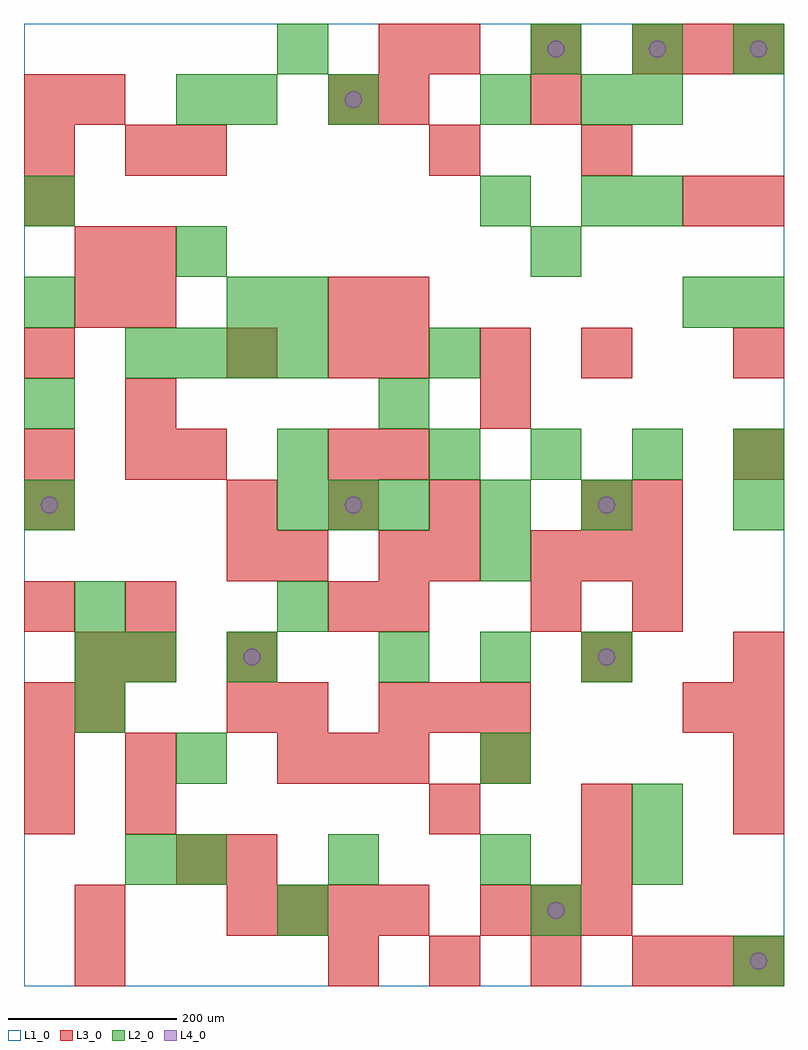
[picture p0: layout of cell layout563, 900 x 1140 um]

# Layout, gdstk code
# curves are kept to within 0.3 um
import gdstk
lib = gdstk.Library(unit=1e-6, precision=1e-09)
def R(c, l, rs):  # rectangles x0, y0, x1, y1
    for r in rs: c.add(gdstk.rectangle(r[:2], r[2:], *l))
def A(c, l, x, y, w, h, nx, ny, dx, dy):  # array of equal rectangles
    R(c, l, [(x+i*dx, y+j*dy, x+i*dx+w, y+j*dy+h) for i in range(nx) for j in range(ny)])
def P(c, l, *ps):  # polygons
    for p in ps: c.add(gdstk.Polygon(p, *l))
L1_0 = (1, 0)
L2_0 = (2, 0)
L3_0 = (3, 0)
L4_0 = (4, 0)

layout563 = lib.new_cell('layout563')
R(layout563, L1_0, [(0,0,900,1140)])
A(layout563, L2_0, 180, 120, 60, 60, 4, 1, 180, 0)
A(layout563, L2_0, 60, 300, 60, 60, 1, 3, 0, 60)
A(layout563, L2_0, 420, 360, 60, 60, 3, 1, 120, 0)
A(layout563, L2_0, 300, 420, 60, 60, 1, 3, 0, 180)
A(layout563, L2_0, 0, 540, 60, 60, 1, 4, 0, 120)
A(layout563, L2_0, 300, 540, 60, 60, 3, 1, 60, 0)
A(layout563, L2_0, 480, 600, 60, 60, 4, 1, 120, 0)
A(layout563, L2_0, 120, 720, 60, 60, 4, 1, 60, 0)
A(layout563, L2_0, 600, 1080, 60, 60, 3, 1, 120, 0)
R(layout563, L2_0, [(840,0,900,60), (300,60,360,120), (600,60,660,120), (120,120,180,180), (720,180,780,240), (180,240,240,300), (540,240,600,300), (120,360,180,420), (240,360,300,420), (540,480,600,540), (540,540,600,600), (660,540,720,600), (840,540,900,600), (420,660,480,720), (480,720,540,780), (240,780,300,840), (780,780,840,840), (840,780,900,840), (180,840,240,900), (600,840,660,900), (540,900,600,960), (660,900,720,960), (720,900,780,960), (180,1020,240,1080), (240,1020,300,1080), (360,1020,420,1080), (540,1020,600,1080), (660,1020,720,1080), (720,1020,780,1080), (300,1080,360,1140)])
A(layout563, L3_0, 360, 0, 60, 60, 4, 1, 120, 0)
A(layout563, L3_0, 240, 60, 60, 60, 4, 1, 60, 0)
A(layout563, L3_0, 540, 60, 60, 60, 3, 1, 60, 0)
A(layout563, L3_0, 0, 180, 60, 60, 1, 3, 0, 60)
A(layout563, L3_0, 480, 180, 60, 60, 3, 1, 180, 0)
A(layout563, L3_0, 300, 240, 60, 60, 3, 1, 60, 0)
A(layout563, L3_0, 840, 240, 60, 60, 1, 3, 0, 60)
A(layout563, L3_0, 420, 300, 60, 60, 3, 1, 60, 0)
A(layout563, L3_0, 600, 480, 60, 60, 3, 1, 60, 0)
A(layout563, L3_0, 240, 540, 60, 60, 3, 1, 120, 0)
A(layout563, L3_0, 420, 720, 60, 60, 3, 1, 120, 0)
A(layout563, L3_0, 840, 720, 60, 60, 1, 3, 0, 180)
A(layout563, L3_0, 0, 900, 60, 60, 1, 3, 0, 60)
A(layout563, L3_0, 480, 1080, 60, 60, 3, 1, 120, 0)
R(layout563, L3_0, [(60,0,120,60), (780,0,840,60), (840,0,900,60), (60,60,120,120), (180,120,240,180), (240,120,300,180), (660,120,720,180), (120,180,180,240), (120,240,180,300), (540,240,600,300), (60,300,120,360), (240,300,300,360), (300,300,360,360), (780,300,840,360), (60,360,120,420), (120,360,180,420), (240,360,300,420), (660,360,720,420), (0,420,60,480), (120,420,180,480), (360,420,420,480), (420,420,480,480), (600,420,660,480), (720,420,780,480), (240,480,300,540), (300,480,360,540), (420,480,480,540), (480,480,540,540), (0,540,60,600), (660,540,720,600), (720,540,780,600), (0,600,60,660), (120,600,180,660), (180,600,240,660), (360,600,420,660), (420,600,480,660), (840,600,900,660), (120,660,180,720), (540,660,600,720), (0,720,60,780), (240,720,300,780), (360,720,420,780), (60,780,120,840), (120,780,180,840), (360,780,420,840), (420,780,480,840), (60,840,120,900), (120,840,180,900), (780,900,840,960), (120,960,180,1020), (180,960,240,1020), (480,960,540,1020), (660,960,720,1020), (60,1020,120,1080), (360,1020,420,1080), (420,1020,480,1080), (600,1020,660,1080), (420,1080,480,1140), (780,1080,840,1140)])
P(layout563, L4_0, [(40,570),(39.239,573.827),(37.071,577.071),(33.827,579.239),(30,580),(26.173,579.239),(22.929,577.071),(20.761,573.827),(20,570),(20.761,566.173),(22.929,562.929),(26.173,560.761),(30,560),(33.827,560.761),(37.071,562.929),(39.239,566.173)],
  [(280,390),(279.239,393.827),(277.071,397.071),(273.827,399.239),(270,400),(266.173,399.239),(262.929,397.071),(260.761,393.827),(260,390),(260.761,386.173),(262.929,382.929),(266.173,380.761),(270,380),(273.827,380.761),(277.071,382.929),(279.239,386.173)],
  [(400,570),(399.239,573.827),(397.071,577.071),(393.827,579.239),(390,580),(386.173,579.239),(382.929,577.071),(380.761,573.827),(380,570),(380.761,566.173),(382.929,562.929),(386.173,560.761),(390,560),(393.827,560.761),(397.071,562.929),(399.239,566.173)],
  [(400,1050),(399.239,1053.827),(397.071,1057.071),(393.827,1059.239),(390,1060),(386.173,1059.239),(382.929,1057.071),(380.761,1053.827),(380,1050),(380.761,1046.173),(382.929,1042.929),(386.173,1040.761),(390,1040),(393.827,1040.761),(397.071,1042.929),(399.239,1046.173)],
  [(640,90),(639.239,93.827),(637.071,97.071),(633.827,99.239),(630,100),(626.173,99.239),(622.929,97.071),(620.761,93.827),(620,90),(620.761,86.173),(622.929,82.929),(626.173,80.761),(630,80),(633.827,80.761),(637.071,82.929),(639.239,86.173)],
  [(640,1110),(639.239,1113.827),(637.071,1117.071),(633.827,1119.239),(630,1120),(626.173,1119.239),(622.929,1117.071),(620.761,1113.827),(620,1110),(620.761,1106.173),(622.929,1102.929),(626.173,1100.761),(630,1100),(633.827,1100.761),(637.071,1102.929),(639.239,1106.173)],
  [(700,390),(699.239,393.827),(697.071,397.071),(693.827,399.239),(690,400),(686.173,399.239),(682.929,397.071),(680.761,393.827),(680,390),(680.761,386.173),(682.929,382.929),(686.173,380.761),(690,380),(693.827,380.761),(697.071,382.929),(699.239,386.173)],
  [(700,570),(699.239,573.827),(697.071,577.071),(693.827,579.239),(690,580),(686.173,579.239),(682.929,577.071),(680.761,573.827),(680,570),(680.761,566.173),(682.929,562.929),(686.173,560.761),(690,560),(693.827,560.761),(697.071,562.929),(699.239,566.173)],
  [(760,1110),(759.239,1113.827),(757.071,1117.071),(753.827,1119.239),(750,1120),(746.173,1119.239),(742.929,1117.071),(740.761,1113.827),(740,1110),(740.761,1106.173),(742.929,1102.929),(746.173,1100.761),(750,1100),(753.827,1100.761),(757.071,1102.929),(759.239,1106.173)],
  [(880,30),(879.239,33.827),(877.071,37.071),(873.827,39.239),(870,40),(866.173,39.239),(862.929,37.071),(860.761,33.827),(860,30),(860.761,26.173),(862.929,22.929),(866.173,20.761),(870,20),(873.827,20.761),(877.071,22.929),(879.239,26.173)],
  [(880,1110),(879.239,1113.827),(877.071,1117.071),(873.827,1119.239),(870,1120),(866.173,1119.239),(862.929,1117.071),(860.761,1113.827),(860,1110),(860.761,1106.173),(862.929,1102.929),(866.173,1100.761),(870,1100),(873.827,1100.761),(877.071,1102.929),(879.239,1106.173)])

lib.write_gds('layout563.gds')
